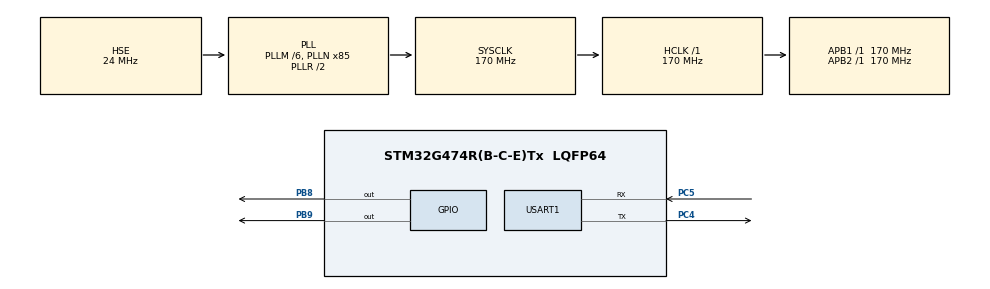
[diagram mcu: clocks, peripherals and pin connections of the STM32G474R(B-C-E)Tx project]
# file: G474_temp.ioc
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Mcu.Family=STM32G4
Mcu.Name=STM32G474R(B-C-E)Tx
Mcu.Package=LQFP64
NVIC.PriorityGroup=NVIC_PRIORITYGROUP_4
NVIC.USART1_IRQn=true\:0\:0\:false\:false\:true\:true\:true\:true
PA13.Mode=Serial_Wire
PA13.Signal=SYS_JTMS-SWDIO
PA14.Mode=Serial_Wire
PA14.Signal=SYS_JTCK-SWCLK
PB8-BOOT0.GPIO_FM8=__NULL
PB8-BOOT0.GPIO_ModeDefaultOutputPP=GPIO_MODE_OUTPUT_OD
PB8-BOOT0.GPIO_PuPd=GPIO_PULLUP
PB8-BOOT0.GPIO_Speed=GPIO_SPEED_FREQ_HIGH
PB8-BOOT0.Signal=GPIO_Output
PB9.GPIO_ModeDefaultOutputPP=GPIO_MODE_OUTPUT_OD
PB9.GPIO_PuPd=GPIO_PULLUP
PB9.GPIO_Speed=GPIO_SPEED_FREQ_HIGH
PB9.Signal=GPIO_Output
PC14-OSC32_IN.Mode=LSE-External-Oscillator
PC14-OSC32_IN.Signal=RCC_OSC32_IN
PC15-OSC32_OUT.Mode=LSE-External-Oscillator
PC15-OSC32_OUT.Signal=RCC_OSC32_OUT
PC4.Mode=Asynchronous
PC4.Signal=USART1_TX
PC5.Mode=Asynchronous
PC5.Signal=USART1_RX
PF0-OSC_IN.Mode=HSE-External-Oscillator
PF0-OSC_IN.Signal=RCC_OSC_IN
PF1-OSC_OUT.Mode=HSE-External-Oscillator
PF1-OSC_OUT.Signal=RCC_OSC_OUT
ProjectManager.HeapSize=0x200
ProjectManager.StackSize=0x400
ProjectManager.TargetToolchain=MDK-ARM V5.32
RCC.ADC12Freq_Value=170000000
RCC.ADC345Freq_Value=170000000
RCC.AHBFreq_Value=170000000
RCC.APB1Freq_Value=170000000
RCC.APB1TimFreq_Value=170000000
RCC.APB2Freq_Value=170000000
RCC.APB2TimFreq_Value=170000000
RCC.CortexFreq_Value=170000000
RCC.EXTERNAL_CLOCK_VALUE=12288000
RCC.HCLKFreq_Value=170000000
RCC.HSE_VALUE=24000000
RCC.HSI48_VALUE=48000000
RCC.HSI_VALUE=16000000
RCC.PLLM=RCC_PLLM_DIV6
RCC.PLLN=85
RCC.PLLSourceVirtual=RCC_PLLSOURCE_HSE
RCC.RTCClockSelection=RCC_RTCCLKSOURCE_LSE
RCC.SYSCLKFreq_VALUE=170000000
RCC.SYSCLKSource=RCC_SYSCLKSOURCE_PLLCLK
RCC.USBFreq_Value=170000000
RCC.VCOOutputFreq_Value=340000000
USART1.VirtualMode-Asynchronous=VM_ASYNC
VP_SYS_VS_DBSignals.Mode=DisableDeadBatterySignals
board=NUCLEO-G474RE

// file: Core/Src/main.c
/* USER CODE BEGIN Header */
/**
  ******************************************************************************
  * @file           : main.c
  * @brief          : Main program body
  ******************************************************************************
  * @attention
  *
  * Copyright (c) 2023 STMicroelectronics.
  * All rights reserved.
  *
  * This software is licensed under terms that can be found in the LICENSE file
  * in the root directory of this software component.
  * If no LICENSE file comes with this software, it is provided AS-IS.
  *
  ******************************************************************************
  */
/* USER CODE END Header */
#include "main.h"
#include "usart.h"
#include "gpio.h"

/* USER CODE BEGIN Includes */
#include "delay.h"
#include "myusart1.h"
#include "OLED_I2C.h"
#include "ad9910.h"
#include "string.h"
#include "util.h"
/* USER CODE END Includes */

void SystemClock_Config(void);

int main(void)
{

  /* MCU Configuration--------------------------------------------------------*/

  /* Reset of all peripherals, Initializes the Flash interface and the Systick. */
  HAL_Init();

  /* Configure the system clock */
  SystemClock_Config();

  /* Initialize all configured peripherals */
  MX_GPIO_Init();
  MX_USART1_UART_Init();
  /* USER CODE BEGIN 2 */
  delay_init(170);
  MyUSART1_Init(&huart1);
  OLED_Init();
  OLED_CLS();
  OLED_ShowStr(40,3,(unsigned char *)"START",2);
  uint8_t Rx_data[100];

  OLED_CLS();
  Init_ad9910();
  OLED_ShowStr(40,3,(unsigned char *)"init",2);
  Freq_convert(500000);
  Amp_convert(649); //设定值在1~649之间
  uint8_t Rx_len = 0;
  double fre_ad9910;
  char fre[128];
  /* USER CODE END 2 */

  /* Infinite loop */
  /* USER CODE BEGIN WHILE */
  while (1)
  {
	if((Rx_len=MyUSART1_ReadUntil(Rx_data,'*'))>0)
    {
      //printf("你发送的是%s\r\n",Rx_data);
      if(strstr((char *)Rx_data,"f="))
      {
        for(  int i=0;  i<Rx_len-1-2;  i++)
            fre[i] = Rx_data[i+2];
        //printf("%s\r\n",fre);
        fre_ad9910 = myatoi(fre);
        //printf("%lf\r\n",fre_ad9910);
        Freq_convert(fre_ad9910);
        OLED_CLS();OLED_ShowStr(0,1,(unsigned char *)"Fix fre",1);OLED_ShowFloat(0,5,fre_ad9910,2);

      }
      memset(Rx_data,0,Rx_len);
      memset(fre,0,128);
    }

    delay_ms(5);

    /* USER CODE END WHILE */

  }
}

void SystemClock_Config(void)
{
  RCC_OscInitTypeDef RCC_OscInitStruct = {0};
  RCC_ClkInitTypeDef RCC_ClkInitStruct = {0};

  /** Configure the main internal regulator output voltage
  */
  HAL_PWREx_ControlVoltageScaling(PWR_REGULATOR_VOLTAGE_SCALE1_BOOST);

  /** Initializes the RCC Oscillators according to the specified parameters
  * in the RCC_OscInitTypeDef structure.
  */
  RCC_OscInitStruct.OscillatorType = RCC_OSCILLATORTYPE_HSE;
  RCC_OscInitStruct.HSEState = RCC_HSE_ON;
  RCC_OscInitStruct.PLL.PLLState = RCC_PLL_ON;
  RCC_OscInitStruct.PLL.PLLSource = RCC_PLLSOURCE_HSE;
  RCC_OscInitStruct.PLL.PLLM = RCC_PLLM_DIV6;
  RCC_OscInitStruct.PLL.PLLN = 85;
  RCC_OscInitStruct.PLL.PLLP = RCC_PLLP_DIV2;
  RCC_OscInitStruct.PLL.PLLQ = RCC_PLLQ_DIV2;
  RCC_OscInitStruct.PLL.PLLR = RCC_PLLR_DIV2;
  if (HAL_RCC_OscConfig(&RCC_OscInitStruct) != HAL_OK)
  {
    Error_Handler();
  }

  /** Initializes the CPU, AHB and APB buses clocks
  */
  RCC_ClkInitStruct.ClockType = RCC_CLOCKTYPE_HCLK|RCC_CLOCKTYPE_SYSCLK
                              |RCC_CLOCKTYPE_PCLK1|RCC_CLOCKTYPE_PCLK2;
  RCC_ClkInitStruct.SYSCLKSource = RCC_SYSCLKSOURCE_PLLCLK;
  RCC_ClkInitStruct.AHBCLKDivider = RCC_SYSCLK_DIV1;
  RCC_ClkInitStruct.APB1CLKDivider = RCC_HCLK_DIV1;
  RCC_ClkInitStruct.APB2CLKDivider = RCC_HCLK_DIV1;

  if (HAL_RCC_ClockConfig(&RCC_ClkInitStruct, FLASH_LATENCY_4) != HAL_OK)
  {
    Error_Handler();
  }
}

void Error_Handler(void)
{
  __disable_irq();
  while (1)
  {
  }
}
